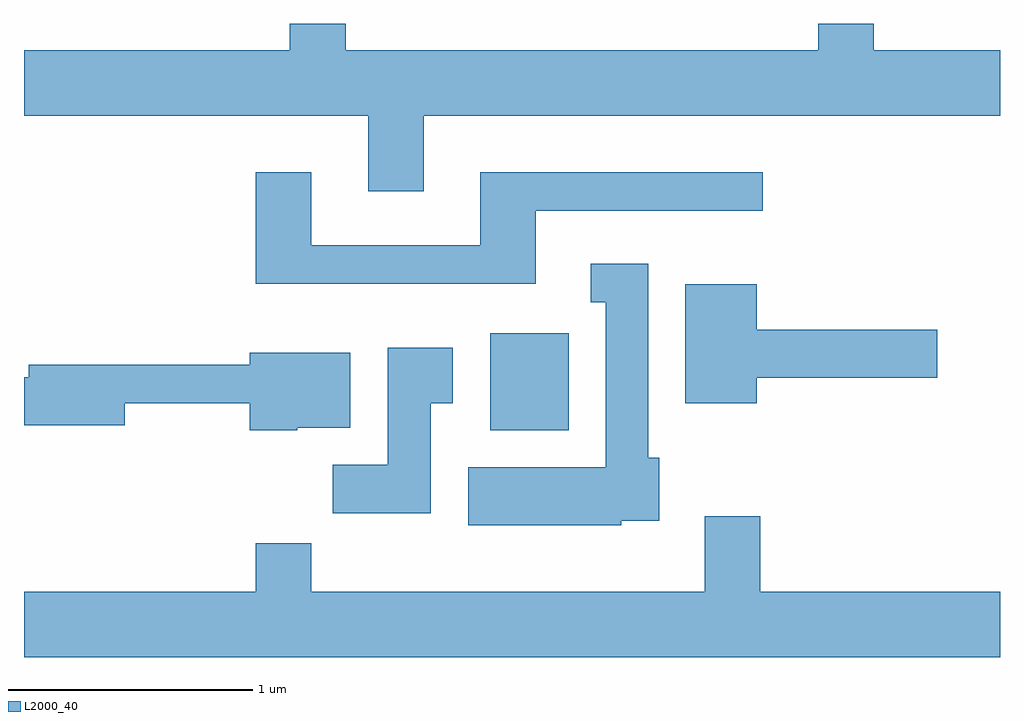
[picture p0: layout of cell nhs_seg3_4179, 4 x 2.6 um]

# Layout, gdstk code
import gdstk
lib = gdstk.Library(unit=1e-6, precision=1e-09)
def R(c, l, rs):  # rectangles x0, y0, x1, y1
    for r in rs: c.add(gdstk.rectangle(r[:2], r[2:], *l))
def P(c, l, *ps):  # polygons
    for p in ps: c.add(gdstk.Polygon(p, *l))
L2000_40 = (2000, 40)

nhs_seg3_4179 = lib.new_cell('nhs_seg3_4179')
R(nhs_seg3_4179, L2000_40, [(309.521,1180.226,309.844,1180.624)])
P(nhs_seg3_4179, L2000_40, [(309.249,1181.516),(311.611,1181.516),(311.611,1181.784),(311.094,1181.784),(311.094,1181.892),(310.866,1181.892),(310.866,1181.784),(308.929,1181.784),(308.929,1181.892),(308.701,1181.892),(308.701,1181.784),(307.611,1181.784),(307.611,1181.516),(309.021,1181.516),(309.021,1181.206),(309.249,1181.206)],
  [(309.709,1181.126),(310.638,1181.126),(310.638,1181.284),(309.481,1181.284),(309.481,1180.984),(308.789,1180.984),(308.789,1181.284),(308.561,1181.284),(308.561,1180.826),(309.709,1180.826)],
  [(310.059,1179.856),(310.214,1179.856),(310.214,1180.114),(310.169,1180.114),(310.169,1180.909),(309.933,1180.909),(309.933,1180.751),(309.996,1180.751),(309.996,1180.074),(309.431,1180.074),(309.431,1179.836),(310.059,1179.836)],
  [(310.614,1180.441),(311.354,1180.441),(311.354,1180.639),(310.614,1180.639),(310.614,1180.824),(310.321,1180.824),(310.321,1180.336),(310.614,1180.336)],
  [(309.279,1180.336),(309.369,1180.336),(309.369,1180.564),(309.101,1180.564),(309.101,1180.084),(308.876,1180.084),(308.876,1179.886),(309.279,1179.886)],
  [(308.73,1180.236),(308.949,1180.236),(308.949,1180.544),(308.536,1180.544),(308.536,1180.494),(307.631,1180.494),(307.631,1180.444),(307.611,1180.444),(307.611,1180.246),(308.024,1180.246),(308.024,1180.336),(308.536,1180.336),(308.536,1180.226),(308.73,1180.226)],
  [(311.611,1179.564),(310.629,1179.564),(310.629,1179.874),(310.401,1179.874),(310.401,1179.564),(308.789,1179.564),(308.789,1179.764),(308.561,1179.764),(308.561,1179.564),(307.611,1179.564),(307.611,1179.296),(311.611,1179.296)])

lib.write_gds('nhs_seg3_4179.gds')
